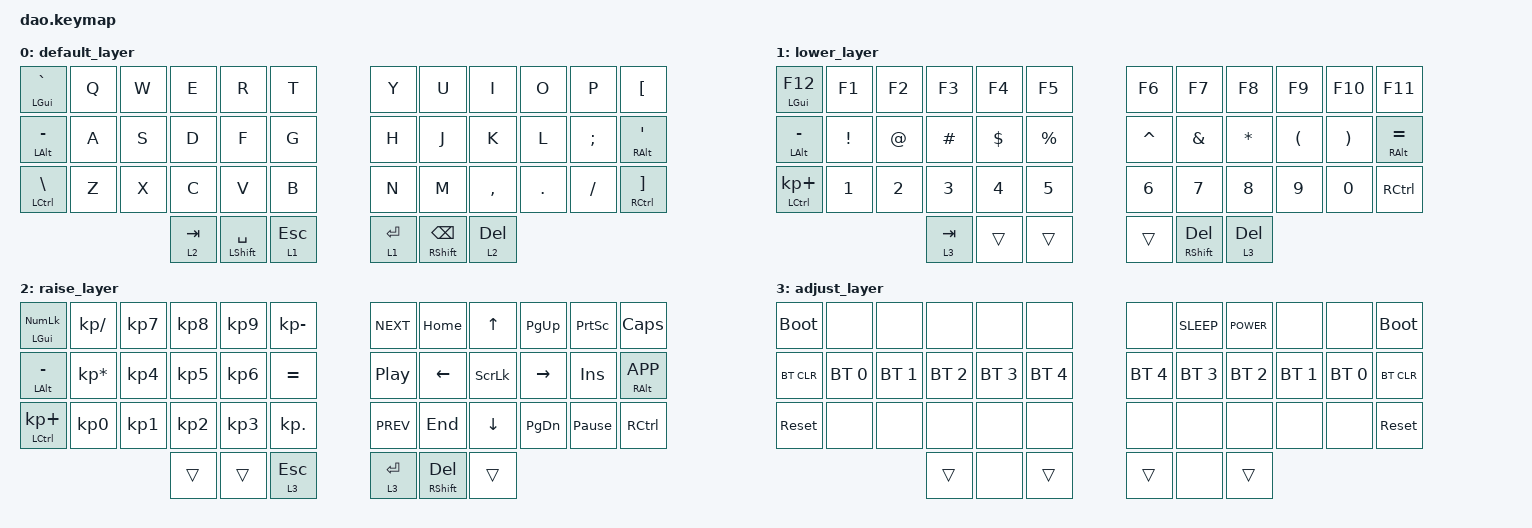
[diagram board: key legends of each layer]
/*
 * Copyright (c) 2021 Rafael Yumagulov
 *
 * SPDX-License-Identifier: MIT
 */

#include <behaviors.dtsi>
#include <dt-bindings/zmk/bt.h>
#include <dt-bindings/zmk/keys.h>

#define DEF 0
#define LWR 1
#define RSE 2
#define ADJ 3

&lt { quick_tap_ms = <200>; };

&mt {
    quick_tap_ms = <200>;
    tapping-term-ms = <250>;
};

/ {
    chosen {
        zmk,matrix_transform = &default_transform;

        // zmk,matrix_transform = &extra_keys_transform;
    };
};

/ {
    combos {
        compatible = "zmk,combos";

        ctrl_shift_esc {
            bindings = <&kp LS(LC(ESCAPE))>;
            key-positions = <0 1>;
        };

        ctrl_alt_del {
            bindings = <&kp LC(LA(DELETE))>;
            key-positions = <12 13>;
        };

        alt_print_scr {
            bindings = <&kp LA(PRINTSCREEN)>;
            key-positions = <16 17>;
        };

        assig {
            bindings = <&assignment>;
            key-positions = <15 16>;
        };

        send_prm {
            bindings = <&send_param>;
            key-positions = <19 20>;
        };
    };

    macros {
        assignment: assignment {
            compatible = "zmk,behavior-macro";
            #binding-cells = <0>;
            bindings = <&kp COLON &kp EQUAL>;
            label = "ASSIGNMENT";
        };

        send_param: send_param {
            compatible = "zmk,behavior-macro";
            #binding-cells = <0>;
            bindings = <&kp EQUAL &kp GT>;
            label = "SEND_PARAM";
        };
    };

    keymap {
        compatible = "zmk,keymap";

        default_layer {
            bindings = <
&mt LGUI GRAVE      &kp Q  &kp W  &kp E      &kp R            &kp T         &kp Y        &kp U           &kp I      &kp O    &kp P     &kp LBKT
&mt LEFT_ALT MINUS  &kp A  &kp S  &kp D      &kp F            &kp G         &kp H        &kp J           &kp K      &kp L    &kp SEMI  &mt RIGHT_ALT SQT
&mt LCTRL BSLH      &kp Z  &kp X  &kp C      &kp V            &kp B         &kp N        &kp M           &kp COMMA  &kp DOT  &kp FSLH  &mt RCTRL RBKT
                                  &lt 2 TAB  &mt LSHFT SPACE  &lt 1 ESCAPE  &lt 1 ENTER  &mt RSHFT BSPC  &lt 2 DEL
            >;
        };

        lower_layer {
            bindings = <
&mt LGUI F12        &kp F1    &kp F2  &kp F3     &kp F4    &kp F5     &kp F6     &kp F7                  &kp F8     &kp F9    &kp F10   &kp F11
&mt LEFT_ALT MINUS  &kp EXCL  &kp AT  &kp HASH   &kp DLLR  &kp PRCNT  &kp CARET  &kp AMPS                &kp STAR   &kp LPAR  &kp RPAR  &mt RIGHT_ALT EQUAL
&mt LCTRL KP_PLUS   &kp N1    &kp N2  &kp N3     &kp N4    &kp N5     &kp N6     &kp N7                  &kp N8     &kp N9    &kp N0    &kp RCTRL
                                      &lt 3 TAB  &trans    &trans     &trans     &mt RIGHT_SHIFT DELETE  &lt 3 DEL
            >;
        };

        raise_layer {
            bindings = <
&mt LGUI KP_NUM     &kp KP_SLASH     &kp KP_N7  &kp KP_N8  &kp KP_N9  &kp KP_MINUS  &kp C_NEXT        &kp HOME                &kp UP_ARROW    &kp PG_UP  &kp PRINTSCREEN  &kp CLCK
&mt LEFT_ALT MINUS  &kp KP_MULTIPLY  &kp KP_N4  &kp KP_N5  &kp KP_N6  &kp EQUAL     &kp C_PLAY_PAUSE  &kp LEFT                &kp SCROLLLOCK  &kp RIGHT  &kp INS          &mt RIGHT_ALT K_APP
&mt LCTRL KP_PLUS   &kp KP_N0        &kp KP_N1  &kp KP_N2  &kp KP_N3  &kp KP_DOT    &kp C_PREV        &kp END                 &kp DOWN        &kp PG_DN  &kp PAUSE_BREAK  &kp RCTRL
                                                &trans     &trans     &lt 3 ESCAPE  &lt 3 ENTER       &mt RIGHT_SHIFT DELETE  &trans
            >;
        };

        adjust_layer {
            bindings = <
&bootloader  &none         &none         &none         &none         &none         &none         &kp K_SLEEP   &kp K_POWER   &none         &none         &bootloader
&bt BT_CLR   &bt BT_SEL 0  &bt BT_SEL 1  &bt BT_SEL 2  &bt BT_SEL 3  &bt BT_SEL 4  &bt BT_SEL 4  &bt BT_SEL 3  &bt BT_SEL 2  &bt BT_SEL 1  &bt BT_SEL 0  &bt BT_CLR
&sys_reset   &none         &none         &none         &none         &none         &none         &none         &none         &none         &none         &sys_reset
                                         &trans        &none         &trans        &trans        &none         &trans
            >;
        };
    };
};
